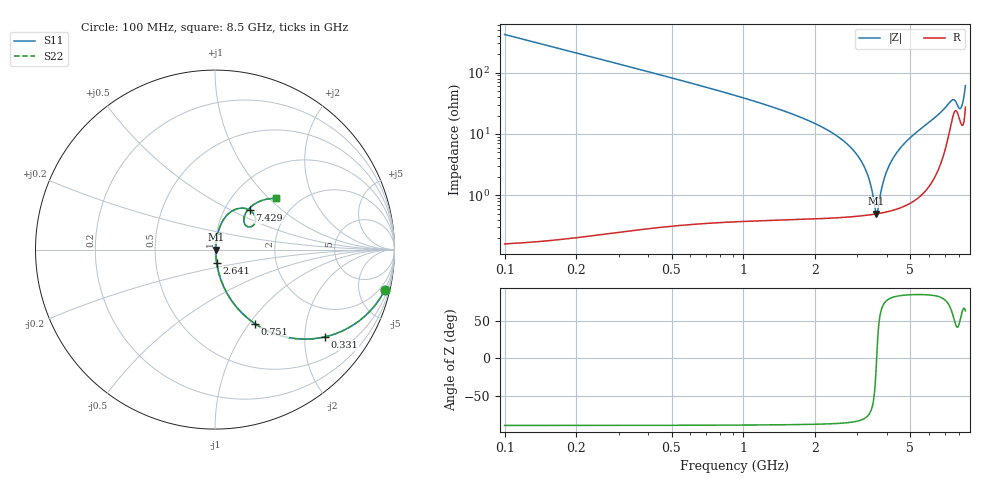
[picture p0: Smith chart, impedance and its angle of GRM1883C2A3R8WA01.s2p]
!Murata Part Number: GRM1883C2A3R8WA01
!These Parameters are Measured in Series Mode Connection
!Data Generated on Mar 30, 2021
!  o--ll--o
!Port1  Port2
!  o------o
!Operation Temp=25[degC], DC Bias Voltage=0[V]
!Freq. Start=100[MHz] Stop=9[GHz] 401[Steps]
# Hz S RI R 50
!Freq.(Hz) S11(Real) S11(Imag) S21(Real) S21(Imag) S12(Real) S12(Imag) S22(Real) S22(Imag)
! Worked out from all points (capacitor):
!   401 points, 100 MHz to 8.5 GHz, reference 50 ohm
!   read as one part in series: C = 3.8 pF near 142 MHz
!   lowest |Z| = 501 mohm at 3.607 GHz (marker M1)
!   series resonance near 3.613 GHz, so ESL is about 510 pH
!   S11 on the Smith chart (normalised r, x): 100 MHz: 1.00, -8.37; 331 MHz: 1.01, -2.51; 751 MHz: 1.01, -1.07; 2.641 GHz: 1.01, -0.15; 7.429 GHz: 1.31, +0.63; 8.5 GHz: 1.55, +1.10
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1e8  0.9459 -0.226  0.0541 0.226  0.0541 0.226  0.9459 -0.226
2.05e8  0.8054 -0.3954  0.1946 0.3954  0.1946 0.3954  0.8054 -0.3954
3.31e8  0.611 -0.4865  0.389 0.4865  0.389 0.4865  0.611 -0.4865
5.2e8  0.3837 -0.4843  0.6163 0.4843  0.6163 0.4843  0.3837 -0.4843
7.51e8  0.2232 -0.4131  0.7768 0.4131  0.7768 0.4131  0.2232 -0.4131
1.507e9  0.054 -0.2176  0.946 0.2176  0.946 0.2176  0.054 -0.2176
2.641e9  0.00998 -0.0746  0.99 0.0746  0.99 0.0746  0.00998 -0.0746
2.914e9  0.00714 -0.0512  0.9929 0.0512  0.9929 0.0512  0.00714 -0.0512
3.313e9  0.00517 -0.0208  0.9948 0.0208  0.9948 0.0208  0.00517 -0.0208
3.607e9  0.00497 -0.000398  0.995 0.000398  0.995 0.000398  0.00497 -0.000398
3.649e9  0.00501 0.00241  0.995 -0.00241  0.995 -0.00241  0.00501 0.00241
3.796e9  0.00529 0.012  0.9947 -0.012  0.9947 -0.012  0.00529 0.012
3.922e9  0.00569 0.0201  0.9943 -0.0201  0.9943 -0.0201  0.00569 0.0201
4.3e9  0.00769 0.0435  0.9923 -0.0435  0.9923 -0.0435  0.00769 0.0435
4.867e9  0.013 0.0773  0.987 -0.0773  0.987 -0.0773  0.013 0.0773
5.707e9  0.028 0.1284  0.972 -0.1284  0.972 -0.1284  0.028 0.1284
7.114e9  0.1268 0.2281  0.8732 -0.2281  0.8732 -0.2281  0.1268 0.2281
7.429e9  0.1926 0.22  0.8074 -0.22  0.8074 -0.22  0.1926 0.22
7.702e9  0.2252 0.1592  0.7748 -0.1592  0.7748 -0.1592  0.2252 0.1592
8.08e9  0.1642 0.1453  0.8358 -0.1453  0.8358 -0.1453  0.1642 0.1453
8.311e9  0.185 0.2234  0.815 -0.2234  0.815 -0.2234  0.185 0.2234
8.5e9  0.3379 0.2853  0.6621 -0.2853  0.6621 -0.2853  0.3379 0.2853
